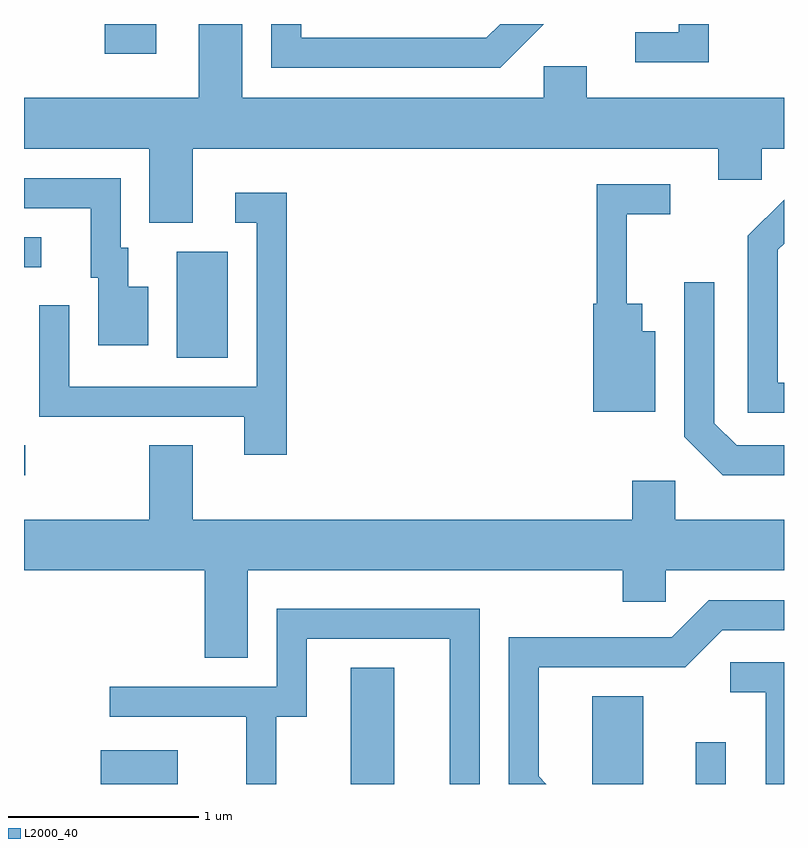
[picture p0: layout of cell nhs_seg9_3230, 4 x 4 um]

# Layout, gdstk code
import gdstk
lib = gdstk.Library(unit=1e-6, precision=1e-09)
def R(c, l, rs):  # rectangles x0, y0, x1, y1
    for r in rs: c.add(gdstk.rectangle(r[:2], r[2:], *l))
def P(c, l, *ps):  # polygons
    for p in ps: c.add(gdstk.Polygon(p, *l))
L2000_40 = (2000, 40)

nhs_seg9_3230 = lib.new_cell('nhs_seg9_3230')
R(nhs_seg9_3230, L2000_40, [(280.016,2028.432,280.419,2028.609), (281.331,2028.432,281.559,2029.044), (282.601,2028.432,282.869,2028.894), (283.146,2028.432,283.304,2028.653), (279.611,2030.056,279.618,2030.214), (280.416,2030.676,280.684,2031.234), (279.611,2031.151,279.703,2031.309), (280.036,2032.276,280.308,2032.432)])
P(nhs_seg9_3230, L2000_40, [(280.499,2031.776),(283.266,2031.776),(283.266,2031.611),(283.494,2031.611),(283.494,2031.776),(283.611,2031.776),(283.611,2032.044),(282.574,2032.044),(282.574,2032.209),(282.346,2032.209),(282.346,2032.044),(280.759,2032.044),(280.759,2032.432),(280.531,2032.432),(280.531,2032.044),(279.611,2032.044),(279.611,2031.776),(280.271,2031.776),(280.271,2031.386),(280.499,2031.386)],
  [(282.347,2032.432),(282.117,2032.432),(282.044,2032.359),(281.069,2032.359),(281.069,2032.432),(280.911,2032.432),(280.911,2032.201),(282.117,2032.201)],
  [(283.214,2032.432),(283.056,2032.432),(283.056,2032.389),(282.828,2032.389),(282.828,2032.231),(283.214,2032.231)],
  [(280.264,2031.049),(280.159,2031.049),(280.159,2031.254),(280.119,2031.254),(280.119,2031.619),(279.611,2031.619),(279.611,2031.461),(279.961,2031.461),(279.961,2031.096),(280.001,2031.096),(280.001,2030.741),(280.264,2030.741)],
  [(282.934,2030.814),(282.864,2030.814),(282.864,2030.959),(282.784,2030.959),(282.784,2031.431),(283.013,2031.431),(283.013,2031.589),(282.626,2031.589),(282.626,2030.959),(282.606,2030.959),(282.606,2030.391),(282.934,2030.391)],
  [(280.994,2031.544),(280.723,2031.544),(280.723,2031.386),(280.836,2031.386),(280.836,2030.524),(279.849,2030.524),(279.849,2030.953),(279.691,2030.953),(279.691,2030.366),(280.771,2030.366),(280.771,2030.166),(280.994,2030.166)],
  [(283.611,2030.544),(283.579,2030.544),(283.579,2031.244),(283.611,2031.276),(283.611,2031.506),(283.421,2031.317),(283.421,2030.386),(283.611,2030.386)],
  [(283.611,2030.214),(283.362,2030.214),(283.244,2030.332),(283.244,2031.073),(283.086,2031.073),(283.086,2030.259),(283.289,2030.056),(283.611,2030.056)],
  [(280.789,2029.556),(282.761,2029.556),(282.761,2029.391),(282.989,2029.391),(282.989,2029.556),(283.611,2029.556),(283.611,2029.824),(283.039,2029.824),(283.039,2030.029),(282.811,2030.029),(282.811,2029.824),(280.499,2029.824),(280.499,2030.214),(280.271,2030.214),(280.271,2029.824),(279.611,2029.824),(279.611,2029.556),(280.561,2029.556),(280.561,2029.096),(280.789,2029.096)],
  [(282.319,2028.472),(282.319,2029.046),(283.092,2029.046),(283.287,2029.241),(283.611,2029.241),(283.611,2029.399),(283.214,2029.399),(283.019,2029.204),(282.161,2029.204),(282.161,2028.432),(282.359,2028.432)],
  [(280.939,2028.786),(281.099,2028.786),(281.099,2029.196),(281.851,2029.196),(281.851,2028.432),(282.009,2028.432),(282.009,2029.354),(280.941,2029.354),(280.941,2028.944),(280.063,2028.944),(280.063,2028.786),(280.781,2028.786),(280.781,2028.432),(280.939,2028.432)],
  [(283.611,2029.074),(283.328,2029.074),(283.328,2028.916),(283.516,2028.916),(283.516,2028.432),(283.611,2028.432)])

lib.write_gds('nhs_seg9_3230.gds')
